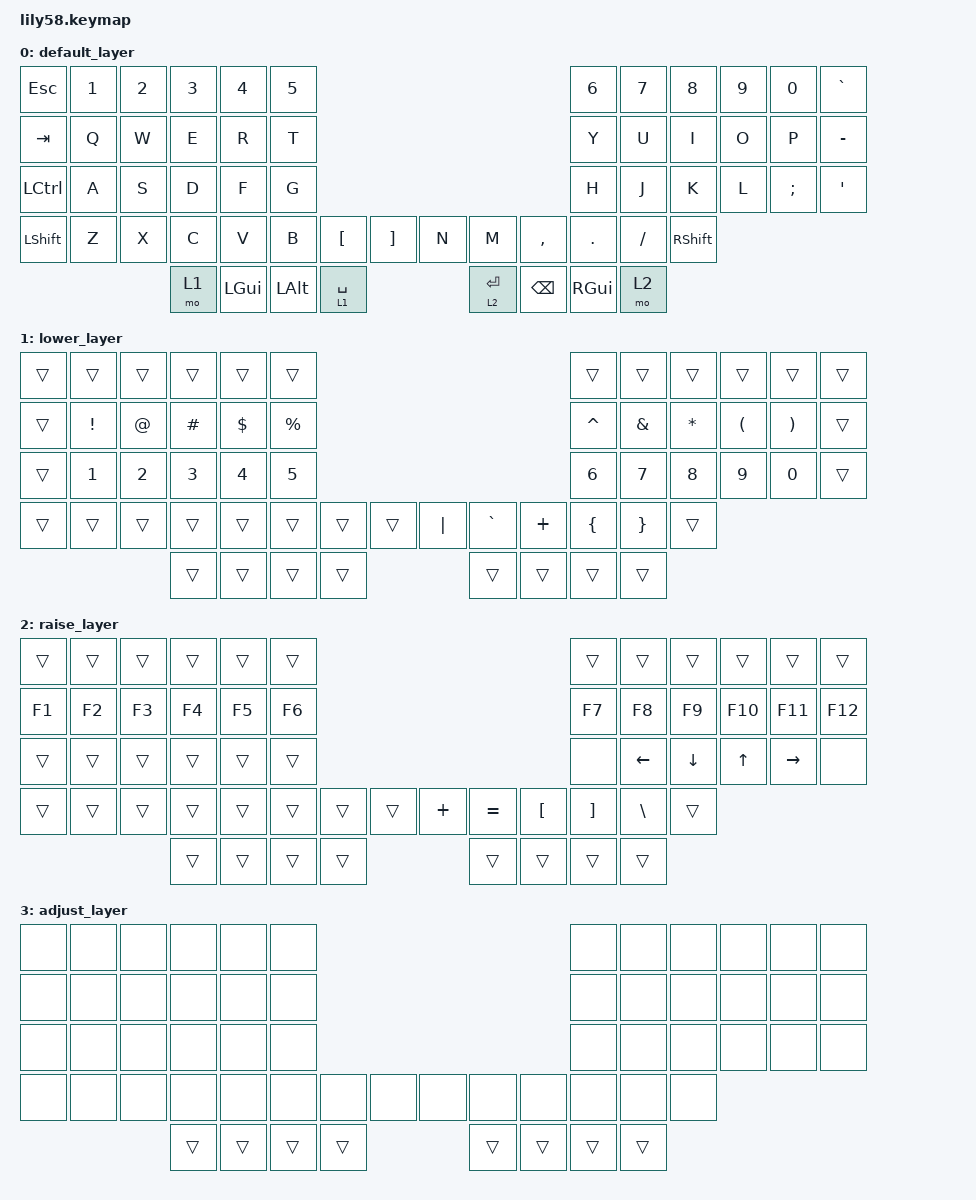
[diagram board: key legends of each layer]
/*
 * Copyright (c) 2020 The ZMK Contributors
 *
 * SPDX-License-Identifier: MIT
 *
 * Keymap ported from kata0510/qmk_firmware
 *   branch : add_lily58_rev2
 *   path   : keyboards/lily58_rp2040/keymaps/default/keymap.c
 *
 * Layers: 0 QWERTY / 1 LOWER / 2 RAISE / 3 ADJUST
 * Only key positions and layers are ported; ZMK build config untouched.
 */

#include <behaviors.dtsi>
#include <dt-bindings/zmk/keys.h>

/ {
    keymap {
        compatible = "zmk,keymap";

        /* 0 - QWERTY  (QMK _QWERTY) */
        default_layer {
            bindings = <
&kp ESC     &kp N1      &kp N2      &kp N3      &kp N4      &kp N5                                                            &kp N6      &kp N7      &kp N8      &kp N9      &kp N0      &kp GRAVE
&kp TAB     &kp Q       &kp W       &kp E       &kp R       &kp T                                                             &kp Y       &kp U       &kp I       &kp O       &kp P       &kp MINUS
&kp LCTRL   &kp A       &kp S       &kp D       &kp F       &kp G                                                             &kp H       &kp J       &kp K       &kp L       &kp SEMI    &kp SQT
&kp LSHIFT  &kp Z       &kp X       &kp C       &kp V       &kp B   &kp LBKT    &kp RBKT    &kp N       &kp M       &kp COMMA   &kp DOT     &kp FSLH    &kp RSHIFT
                                    &mo 1       &kp LGUI    &kp LALT    &lt 1 SPACE                 &lt 2 ENTER &kp BACKSPACE  &kp RGUI    &mo 2
            >;
        };

        /* 1 - LOWER  (QMK _LOWER) */
        lower_layer {
            bindings = <
&trans  &trans  &trans  &trans  &trans  &trans                                              &trans  &trans  &trans  &trans  &trans  &trans
&trans  &kp EXCL &kp AT &kp POUND &kp DLLR &kp PRCNT                                        &kp CARET &kp AMPS &kp STAR &kp LPAR &kp RPAR &trans
&trans  &kp N1   &kp N2  &kp N3   &kp N4   &kp N5                                            &kp N6   &kp N7   &kp N8   &kp N9   &kp N0   &trans
&trans  &trans  &trans  &trans  &trans  &trans  &trans  &trans  &kp PIPE &kp GRAVE &kp PLUS &kp LBRC &kp RBRC &trans
                                 &trans  &trans  &trans  &trans                 &trans  &trans  &trans  &trans
            >;
        };

        /* 2 - RAISE  (QMK _RAISE) */
        raise_layer {
            bindings = <
&trans  &trans  &trans  &trans  &trans  &trans                                              &trans  &trans  &trans  &trans  &trans  &trans
&kp F1  &kp F2  &kp F3  &kp F4  &kp F5  &kp F6                                               &kp F7  &kp F8  &kp F9  &kp F10 &kp F11 &kp F12
&trans  &trans  &trans  &trans  &trans  &trans                                              &none   &kp LEFT &kp DOWN &kp UP  &kp RIGHT &none
&trans  &trans  &trans  &trans  &trans  &trans  &trans  &trans  &kp PLUS &kp EQUAL &kp LBKT &kp RBKT &kp BACKSLASH &trans
                                 &trans  &trans  &trans  &trans                 &trans  &trans  &trans  &trans
            >;
        };

        /* 3 - ADJUST  (QMK _ADJUST: XXXXXXX = &none, _______ = &trans) */
        adjust_layer {
            bindings = <
&none  &none  &none  &none  &none  &none                                &none  &none  &none  &none  &none  &none
&none  &none  &none  &none  &none  &none                                &none  &none  &none  &none  &none  &none
&none  &none  &none  &none  &none  &none                                &none  &none  &none  &none  &none  &none
&none  &none  &none  &none  &none  &none  &none  &none  &none  &none  &none  &none  &none  &none
                              &trans  &trans  &trans  &trans            &trans  &trans  &trans  &trans
            >;
        };
    };
};
